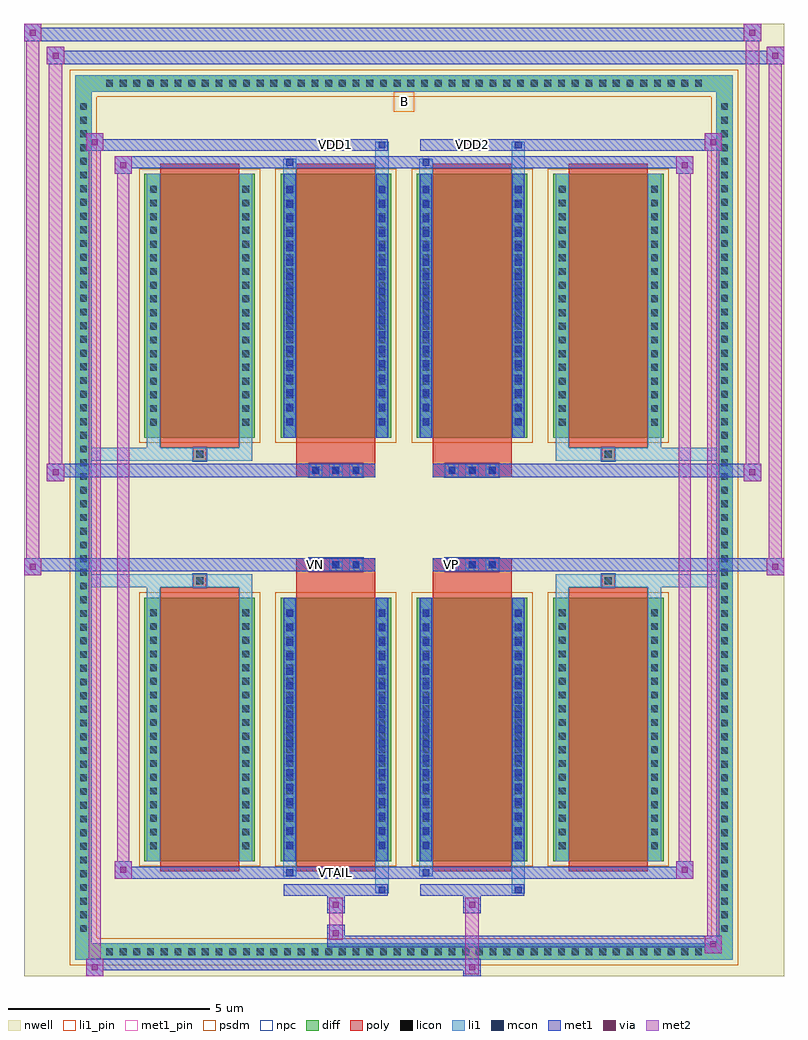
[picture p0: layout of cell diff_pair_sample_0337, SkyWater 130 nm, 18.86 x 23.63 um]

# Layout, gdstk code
import gdstk
lib = gdstk.Library(unit=1e-6, precision=5e-09)
def R(c, l, rs):  # rectangles x0, y0, x1, y1
    for r in rs: c.add(gdstk.rectangle(r[:2], r[2:], *l))
def A(c, l, x, y, w, h, nx, ny, dx, dy):  # array of equal rectangles
    R(c, l, [(x+i*dx, y+j*dy, x+i*dx+w, y+j*dy+h) for i in range(nx) for j in range(ny)])
def P(c, l, *ps):  # polygons
    for p in ps: c.add(gdstk.Polygon(p, *l))
nwell = (64, 20)
diff = (65, 20)
poly = (66, 20)
licon = (66, 44)
li1_pin = (67, 16)
li1 = (67, 20)
mcon = (67, 44)
met1_pin = (68, 16)
met1 = (68, 20)
via = (68, 44)
met2 = (69, 20)
psdm = (94, 20)
npc = (95, 20)

diff_pair_sample_0337 = lib.new_cell('diff_pair_sample_0337')
R(diff_pair_sample_0337, nwell, [(-9.43,-11.38,9.43,12.25), (-6.75,-9.57,-0.01,-0.805), (0.01,-9.57,6.75,-0.805), (-6.75,0.805,-0.01,9.57), (0.01,0.805,6.75,9.57)])
A(diff_pair_sample_0337, diff, -7.515, -10.98, 0.41, 0.41, 44, 2, 0.34, 21.55)
A(diff_pair_sample_0337, diff, -8.16, -10.405, 0.41, 0.41, 1, 61, 0, 0.34)
A(diff_pair_sample_0337, diff, 7.75, -10.405, 0.41, 0.41, 1, 61, 0, 0.34)
A(diff_pair_sample_0337, diff, -6.44, -8.525, 2.74, 6.54, 4, 2, 3.38, 10.51)
R(diff_pair_sample_0337, diff, [(-7.515,-10.98,7.515,-10.57), (-8.16,-10.405,-7.75,10.405), (7.75,-10.405,8.16,10.405), (-7.515,10.57,7.515,10.98)])
P(diff_pair_sample_0337, diff, [(8.16,10.98),(-8.16,10.98),(-8.16,-10.57),(-7.75,-10.57),(-7.75,10.57),(7.75,10.57),(7.75,-10.57),(-7.75,-10.57),(-8.16,-10.57),(-8.16,-10.98),(8.16,-10.98)])
A(diff_pair_sample_0337, poly, -6.05, -8.775, 1.96, 7.04, 4, 2, 3.38, 10.51)
A(diff_pair_sample_0337, poly, -2.355, -1.335, 0.33, 0.33, 3, 2, 0.5, 2.34)
A(diff_pair_sample_0337, poly, 1.025, -1.335, 0.33, 0.33, 3, 2, 0.5, 2.34)
R(diff_pair_sample_0337, poly, [(-5.235,-1.735,-4.905,-1.405), (-5.235,-1.735,-4.905,-1.405), (-2.67,-1.735,-0.71,-1.335), (0.71,-1.735,2.67,-1.335), (4.905,-1.735,5.235,-1.405), (4.905,-1.735,5.235,-1.405), (-2.67,-1.335,-0.71,-1.005), (0.71,-1.335,2.67,-1.005), (-2.67,1.005,-0.71,1.335), (0.71,1.005,2.67,1.335), (-2.67,1.335,-0.71,1.735), (0.71,1.335,2.67,1.735), (-5.235,1.405,-4.905,1.735), (-5.235,1.405,-4.905,1.735), (4.905,1.405,5.235,1.735), (4.905,1.405,5.235,1.735)])
A(diff_pair_sample_0337, licon, -7.395, -10.86, 0.17, 0.17, 44, 2, 0.34, 21.55)
A(diff_pair_sample_0337, licon, -8.04, -10.285, 0.17, 0.17, 1, 61, 0, 0.34)
A(diff_pair_sample_0337, licon, 7.87, -10.285, 0.17, 0.17, 1, 61, 0, 0.34)
A(diff_pair_sample_0337, licon, -6.3, -8.23, 0.17, 0.17, 1, 18, 0, 0.34)
A(diff_pair_sample_0337, licon, -4.01, -8.23, 0.17, 0.17, 1, 18, 0, 0.34)
A(diff_pair_sample_0337, licon, -2.92, -8.23, 0.17, 0.17, 1, 18, 0, 0.34)
A(diff_pair_sample_0337, licon, -0.63, -8.23, 0.17, 0.17, 1, 18, 0, 0.34)
A(diff_pair_sample_0337, licon, 0.46, -8.23, 0.17, 0.17, 1, 18, 0, 0.34)
A(diff_pair_sample_0337, licon, 2.75, -8.23, 0.17, 0.17, 1, 18, 0, 0.34)
A(diff_pair_sample_0337, licon, 3.84, -8.23, 0.17, 0.17, 1, 18, 0, 0.34)
A(diff_pair_sample_0337, licon, 6.13, -8.23, 0.17, 0.17, 1, 18, 0, 0.34)
A(diff_pair_sample_0337, licon, -2.275, -1.255, 0.17, 0.17, 3, 2, 0.5, 2.34)
A(diff_pair_sample_0337, licon, 1.105, -1.255, 0.17, 0.17, 3, 2, 0.5, 2.34)
A(diff_pair_sample_0337, licon, -6.3, 2.28, 0.17, 0.17, 1, 18, 0, 0.34)
A(diff_pair_sample_0337, licon, -4.01, 2.28, 0.17, 0.17, 1, 18, 0, 0.34)
A(diff_pair_sample_0337, licon, -2.92, 2.28, 0.17, 0.17, 1, 18, 0, 0.34)
A(diff_pair_sample_0337, licon, -0.63, 2.28, 0.17, 0.17, 1, 18, 0, 0.34)
A(diff_pair_sample_0337, licon, 0.46, 2.28, 0.17, 0.17, 1, 18, 0, 0.34)
A(diff_pair_sample_0337, licon, 2.75, 2.28, 0.17, 0.17, 1, 18, 0, 0.34)
A(diff_pair_sample_0337, licon, 3.84, 2.28, 0.17, 0.17, 1, 18, 0, 0.34)
A(diff_pair_sample_0337, licon, 6.13, 2.28, 0.17, 0.17, 1, 18, 0, 0.34)
R(diff_pair_sample_0337, licon, [(-5.155,-1.655,-4.985,-1.485), (4.985,-1.655,5.155,-1.485), (-5.155,1.485,-4.985,1.655), (4.985,1.485,5.155,1.655)])
R(diff_pair_sample_0337, li1_pin, [(-0.25,10.07,0.25,10.57)])
A(diff_pair_sample_0337, li1, -7.475, -10.94, 0.33, 0.33, 44, 2, 0.34, 21.55)
A(diff_pair_sample_0337, li1, -8.12, -10.365, 0.33, 0.33, 1, 61, 0, 0.34)
A(diff_pair_sample_0337, li1, 7.79, -10.365, 0.33, 0.33, 1, 61, 0, 0.34)
A(diff_pair_sample_0337, li1, -6.38, -8.31, 0.33, 0.33, 1, 18, 0, 0.34)
A(diff_pair_sample_0337, li1, -4.09, -8.31, 0.33, 0.33, 1, 18, 0, 0.34)
A(diff_pair_sample_0337, li1, -3, -8.31, 0.33, 0.33, 1, 18, 0, 0.34)
A(diff_pair_sample_0337, li1, -0.71, -8.31, 0.33, 0.33, 1, 18, 0, 0.34)
A(diff_pair_sample_0337, li1, 0.38, -8.31, 0.33, 0.33, 1, 18, 0, 0.34)
A(diff_pair_sample_0337, li1, 2.67, -8.31, 0.33, 0.33, 1, 18, 0, 0.34)
A(diff_pair_sample_0337, li1, 3.76, -8.31, 0.33, 0.33, 1, 18, 0, 0.34)
A(diff_pair_sample_0337, li1, 6.05, -8.31, 0.33, 0.33, 1, 18, 0, 0.34)
A(diff_pair_sample_0337, li1, -2.92, -8.22, 0.17, 0.17, 1, 17, 0, 0.36)
A(diff_pair_sample_0337, li1, -0.63, -8.22, 0.17, 0.17, 1, 17, 0, 0.36)
A(diff_pair_sample_0337, li1, 0.46, -8.22, 0.17, 0.17, 1, 17, 0, 0.36)
A(diff_pair_sample_0337, li1, 2.75, -8.22, 0.17, 0.17, 1, 17, 0, 0.36)
A(diff_pair_sample_0337, li1, -2.355, -1.335, 0.33, 0.33, 3, 2, 0.5, 2.34)
A(diff_pair_sample_0337, li1, 1.025, -1.335, 0.33, 0.33, 3, 2, 0.5, 2.34)
A(diff_pair_sample_0337, li1, -6.38, 2.2, 0.33, 0.33, 1, 18, 0, 0.34)
A(diff_pair_sample_0337, li1, -4.09, 2.2, 0.33, 0.33, 1, 18, 0, 0.34)
A(diff_pair_sample_0337, li1, -3, 2.2, 0.33, 0.33, 1, 18, 0, 0.34)
A(diff_pair_sample_0337, li1, -0.71, 2.2, 0.33, 0.33, 1, 18, 0, 0.34)
A(diff_pair_sample_0337, li1, 0.38, 2.2, 0.33, 0.33, 1, 18, 0, 0.34)
A(diff_pair_sample_0337, li1, 2.67, 2.2, 0.33, 0.33, 1, 18, 0, 0.34)
A(diff_pair_sample_0337, li1, 3.76, 2.2, 0.33, 0.33, 1, 18, 0, 0.34)
A(diff_pair_sample_0337, li1, 6.05, 2.2, 0.33, 0.33, 1, 18, 0, 0.34)
A(diff_pair_sample_0337, li1, -2.92, 2.29, 0.17, 0.17, 1, 17, 0, 0.36)
A(diff_pair_sample_0337, li1, -0.63, 2.29, 0.17, 0.17, 1, 17, 0, 0.36)
A(diff_pair_sample_0337, li1, 0.46, 2.29, 0.17, 0.17, 1, 17, 0, 0.36)
A(diff_pair_sample_0337, li1, 2.75, 2.29, 0.17, 0.17, 1, 17, 0, 0.36)
R(diff_pair_sample_0337, li1, [(-8.16,-10.98,-7.75,-10.57), (-8.16,-10.98,-7.75,-10.57), (-7.75,-10.98,7.75,-10.57), (7.75,-10.98,8.16,-10.57), (7.75,-10.98,8.16,-10.57), (-8.16,-10.57,-7.75,10.57), (7.75,-10.57,8.16,10.57), (-0.71,-9.33,-0.38,-8.525), (-0.63,-9.33,-0.46,-9.16), (2.67,-9.33,3,-8.525), (2.75,-9.33,2.92,-9.16), (-3,-8.9,-2.67,-8.525), (-2.92,-8.9,-2.75,-8.73), (0.38,-8.9,0.71,-8.525), (0.46,-8.9,0.63,-8.73), (-6.38,-8.525,-6.05,-1.985), (-4.09,-8.525,-3.76,-1.985), (-3,-8.525,-2.67,-1.985), (-0.71,-8.525,-0.38,-1.985), (0.38,-8.525,0.71,-1.985), (2.67,-8.525,3,-1.985), (3.76,-8.525,4.09,-1.985), (6.05,-8.525,6.38,-1.985), (-2.92,-8.22,-2.75,-2.29), (-0.63,-8.22,-0.46,-2.29), (0.46,-8.22,0.63,-2.29), (2.75,-8.22,2.92,-2.29), (-6.38,-1.985,-6.05,-1.405), (-4.09,-1.985,-3.76,-1.405), (3.76,-1.985,4.09,-1.405), (6.05,-1.985,6.38,-1.405), (-8.16,-1.735,-5.235,-1.405), (-6.38,-1.735,-5.235,-1.405), (-5.235,-1.735,-4.905,-1.405), (-4.905,-1.735,-3.76,-1.405), (3.76,-1.735,4.905,-1.405), (4.905,-1.735,5.235,-1.405), (4.905,-1.735,8.16,-1.405), (5.235,-1.735,6.38,-1.405), (-8.16,1.405,-5.235,1.735), (-6.38,1.405,-5.235,1.735), (-6.38,1.405,-6.05,1.985), (-5.235,1.405,-4.905,1.735), (-4.905,1.405,-3.76,1.735), (-4.09,1.405,-3.76,1.985), (3.76,1.405,4.905,1.735), (3.76,1.405,4.09,1.985), (4.905,1.405,5.235,1.735), (4.905,1.405,8.16,1.735), (5.235,1.405,6.38,1.735), (6.05,1.405,6.38,1.985), (-6.38,1.985,-6.05,8.525), (-4.09,1.985,-3.76,8.525), (-3,1.985,-2.67,8.525), (-0.71,1.985,-0.38,8.525), (0.38,1.985,0.71,8.525), (2.67,1.985,3,8.525), (3.76,1.985,4.09,8.525), (6.05,1.985,6.38,8.525), (-2.92,2.29,-2.75,8.22), (-0.63,2.29,-0.46,8.22), (0.46,2.29,0.63,8.22), (2.75,2.29,2.92,8.22), (-3,8.525,-2.67,8.9), (-0.71,8.525,-0.38,9.33), (0.38,8.525,0.71,8.9), (2.67,8.525,3,9.33), (-2.92,8.73,-2.75,8.9), (0.46,8.73,0.63,8.9), (-0.63,9.16,-0.46,9.33), (2.75,9.16,2.92,9.33), (-8.16,10.57,-7.75,10.98), (-8.16,10.57,-7.75,10.98), (-7.75,10.57,7.75,10.98), (7.75,10.57,8.16,10.98), (7.75,10.57,8.16,10.98)])
A(diff_pair_sample_0337, mcon, -2.92, -8.22, 0.17, 0.17, 1, 17, 0, 0.36)
A(diff_pair_sample_0337, mcon, -0.63, -8.22, 0.17, 0.17, 1, 17, 0, 0.36)
A(diff_pair_sample_0337, mcon, 0.46, -8.22, 0.17, 0.17, 1, 17, 0, 0.36)
A(diff_pair_sample_0337, mcon, 2.75, -8.22, 0.17, 0.17, 1, 17, 0, 0.36)
A(diff_pair_sample_0337, mcon, -2.275, -1.255, 0.17, 0.17, 3, 2, 0.5, 2.34)
A(diff_pair_sample_0337, mcon, 1.105, -1.255, 0.17, 0.17, 3, 2, 0.5, 2.34)
A(diff_pair_sample_0337, mcon, -2.92, 2.29, 0.17, 0.17, 1, 17, 0, 0.36)
A(diff_pair_sample_0337, mcon, -0.63, 2.29, 0.17, 0.17, 1, 17, 0, 0.36)
A(diff_pair_sample_0337, mcon, 0.46, 2.29, 0.17, 0.17, 1, 17, 0, 0.36)
A(diff_pair_sample_0337, mcon, 2.75, 2.29, 0.17, 0.17, 1, 17, 0, 0.36)
R(diff_pair_sample_0337, mcon, [(-0.63,-9.33,-0.46,-9.16), (2.75,-9.33,2.92,-9.16), (-2.92,-8.9,-2.75,-8.73), (0.46,-8.9,0.63,-8.73), (-2.92,8.73,-2.75,8.9), (0.46,8.73,0.63,8.9), (-0.63,9.16,-0.46,9.33), (2.75,9.16,2.92,9.33)])
R(diff_pair_sample_0337, met1_pin, [(-1.825,-8.94,-1.555,-8.67), (-2.325,-1.295,-2.055,-1.025), (1.055,-1.295,1.325,-1.025), (-1.825,9.12,-1.555,9.39), (1.555,9.12,1.825,9.39)])
A(diff_pair_sample_0337, met1, -2.98, -8.28, 0.29, 0.29, 1, 17, 0, 0.36)
A(diff_pair_sample_0337, met1, -0.69, -8.28, 0.29, 0.29, 1, 17, 0, 0.36)
A(diff_pair_sample_0337, met1, 0.4, -8.28, 0.29, 0.29, 1, 17, 0, 0.36)
A(diff_pair_sample_0337, met1, 2.69, -8.28, 0.29, 0.29, 1, 17, 0, 0.36)
A(diff_pair_sample_0337, met1, -2.335, -1.315, 0.29, 0.29, 3, 2, 0.5, 2.34)
A(diff_pair_sample_0337, met1, 1.045, -1.315, 0.29, 0.29, 3, 2, 0.5, 2.34)
A(diff_pair_sample_0337, met1, -2.98, 2.23, 0.29, 0.29, 1, 17, 0, 0.36)
A(diff_pair_sample_0337, met1, -0.69, 2.23, 0.29, 0.29, 1, 17, 0, 0.36)
A(diff_pair_sample_0337, met1, 0.4, 2.23, 0.29, 0.29, 1, 17, 0, 0.36)
A(diff_pair_sample_0337, met1, 2.69, 2.23, 0.29, 0.29, 1, 17, 0, 0.36)
R(diff_pair_sample_0337, met1, [(-7.89,-11.38,-7.46,-10.95), (1.475,-11.38,1.905,-10.95), (-7.89,-11.24,1.905,-10.95), (7.46,-10.81,7.89,-10.38), (-1.905,-10.67,7.89,-10.38), (-1.905,-10.53,-1.475,-10.1), (-1.905,-9.82,-1.475,-9.39), (1.475,-9.82,1.905,-9.39), (-2.98,-9.39,-0.4,-9.1), (-0.69,-9.39,-0.4,-9.1), (0.4,-9.39,2.98,-9.1), (2.69,-9.39,2.98,-9.1), (-7.18,-8.96,-6.75,-8.53), (-7.18,-8.96,-2.98,-8.67), (-2.98,-8.96,-2.69,-8.67), (-2.98,-8.96,-0.4,-8.67), (-0.4,-8.96,0.4,-8.67), (0.4,-8.96,0.69,-8.67), (0.4,-8.96,2.98,-8.67), (2.98,-8.96,7.18,-8.67), (6.75,-8.96,7.18,-8.53), (-2.98,-8.525,-2.69,-1.985), (-0.69,-8.525,-0.4,-1.985), (0.4,-8.525,0.69,-1.985), (2.69,-8.525,2.98,-1.985), (-9.43,-1.435,-9,-1.005), (9,-1.435,9.43,-1.005), (-9.43,-1.335,-0.71,-1.005), (-2.67,-1.335,-0.71,-1.005), (0.71,-1.335,2.67,-1.005), (0.71,-1.335,9.43,-1.005), (-8.86,0.905,-8.43,1.335), (8.43,0.905,8.86,1.335), (-8.86,1.005,-2.67,1.335), (-2.67,1.005,-0.71,1.335), (0.71,1.005,2.67,1.335), (2.67,1.005,8.86,1.335), (-2.98,1.985,-2.69,8.525), (-0.69,1.985,-0.4,8.525), (0.4,1.985,0.69,8.525), (2.69,1.985,2.98,8.525), (-7.18,8.53,-6.75,8.96), (6.75,8.53,7.18,8.96), (-7.18,8.67,-2.98,8.96), (-2.98,8.67,-2.69,8.96), (-2.98,8.67,-0.4,8.96), (-0.4,8.67,0.4,8.96), (0.4,8.67,0.69,8.96), (0.4,8.67,2.98,8.96), (2.98,8.67,7.18,8.96), (-7.89,9.1,-7.46,9.53), (-7.89,9.1,-2.98,9.39), (-2.98,9.1,-0.4,9.39), (-0.69,9.1,-0.4,9.39), (0.4,9.1,2.98,9.39), (2.69,9.1,2.98,9.39), (2.98,9.1,7.89,9.39), (7.46,9.1,7.89,9.53), (-8.86,11.25,-8.43,11.68), (-8.86,11.25,-6.75,11.58), (-6.75,11.25,6.75,11.58), (6.75,11.25,9.43,11.58), (9,11.25,9.43,11.68), (-9.43,11.82,-9,12.25), (-9.43,11.82,-6.75,12.15), (-6.75,11.82,6.75,12.15), (6.75,11.82,8.86,12.15), (8.43,11.82,8.86,12.25)])
R(diff_pair_sample_0337, via, [(-7.75,-11.24,-7.6,-11.09), (1.615,-11.24,1.765,-11.09), (7.6,-10.67,7.75,-10.52), (-1.765,-10.39,-1.615,-10.24), (-1.765,-9.68,-1.615,-9.53), (1.615,-9.68,1.765,-9.53), (-7.04,-8.82,-6.89,-8.67), (6.89,-8.82,7.04,-8.67), (-9.29,-1.295,-9.14,-1.145), (9.14,-1.295,9.29,-1.145), (-8.72,1.045,-8.57,1.195), (8.57,1.045,8.72,1.195), (-7.04,8.67,-6.89,8.82), (6.89,8.67,7.04,8.82), (-7.75,9.24,-7.6,9.39), (7.6,9.24,7.75,9.39), (-8.72,11.39,-8.57,11.54), (9.14,11.39,9.29,11.54), (-9.29,11.96,-9.14,12.11), (8.57,11.96,8.72,12.11)])
R(diff_pair_sample_0337, met2, [(-7.89,-11.38,-7.46,-10.95), (-7.82,-11.38,-7.53,9.53), (-7.53,-11.38,-7.46,-10.95), (-7.84,-11.33,-7.51,-11), (1.525,-11.33,1.855,-11), (1.525,-11,1.855,-9.77), (7.46,-10.81,7.89,-10.38), (7.53,-10.81,7.82,9.53), (7.82,-10.81,7.89,-10.38), (7.51,-10.76,7.84,-10.43), (-1.855,-10.48,-1.525,-10.15), (-1.855,-10.15,-1.525,-9.77), (-1.855,-9.77,-1.525,-9.44), (1.525,-9.77,1.855,-9.44), (-7.18,-8.96,-6.75,-8.53), (-7.11,-8.96,-6.82,8.96), (-6.82,-8.96,-6.75,-8.53), (6.75,-8.96,7.18,-8.53), (6.82,-8.96,7.11,8.96), (7.11,-8.96,7.18,-8.53), (-7.13,-8.91,-6.8,-8.58), (6.8,-8.91,7.13,-8.58), (-9.43,-1.435,-9,-1.005), (-9.38,-1.435,-9.05,12.25), (-9.05,-1.435,-9,-1.005), (9,-1.435,9.43,-1.005), (9.05,-1.435,9.38,11.68), (9.38,-1.435,9.43,-1.005), (-9.38,-1.385,-9.05,-1.055), (9.05,-1.385,9.38,-1.055), (-8.86,0.905,-8.43,1.335), (-8.81,0.905,-8.48,11.68), (-8.48,0.905,-8.43,1.335), (8.43,0.905,8.86,1.335), (8.48,0.905,8.81,12.25), (8.81,0.905,8.86,1.335), (-8.81,0.955,-8.48,1.285), (8.48,0.955,8.81,1.285), (-7.18,8.53,-6.75,8.96), (-6.82,8.53,-6.75,8.96), (6.75,8.53,7.18,8.96), (7.11,8.53,7.18,8.96), (-7.13,8.58,-6.8,8.91), (6.8,8.58,7.13,8.91), (-7.89,9.1,-7.46,9.53), (-7.53,9.1,-7.46,9.53), (7.46,9.1,7.89,9.53), (7.82,9.1,7.89,9.53), (-7.84,9.15,-7.51,9.48), (7.51,9.15,7.84,9.48), (-8.86,11.25,-8.43,11.68), (-8.48,11.25,-8.43,11.68), (9,11.25,9.43,11.68), (9.38,11.25,9.43,11.68), (-8.81,11.3,-8.48,11.63), (9.05,11.3,9.38,11.63), (-9.43,11.82,-9,12.25), (-9.05,11.82,-9,12.25), (8.43,11.82,8.86,12.25), (8.81,11.82,8.86,12.25), (-9.38,11.87,-9.05,12.2), (8.48,11.87,8.81,12.2)])
A(diff_pair_sample_0337, psdm, -6.57, -8.655, 3, 6.8, 4, 2, 3.38, 10.51)
P(diff_pair_sample_0337, psdm, [(8.29,11.11),(-8.29,11.11),(-8.29,-10.44),(-7.62,-10.44),(-7.62,10.44),(7.62,10.44),(7.62,-10.44),(-7.62,-10.44),(-8.29,-10.44),(-8.29,-11.11),(8.29,-11.11)])
A(diff_pair_sample_0337, npc, -2.375, -1.355, 0.37, 0.37, 3, 2, 0.5, 2.34)
A(diff_pair_sample_0337, npc, 1.005, -1.355, 0.37, 0.37, 3, 2, 0.5, 2.34)
R(diff_pair_sample_0337, npc, [(-5.255,-1.755,-4.885,-1.385), (4.885,-1.755,5.255,-1.385), (-2.375,-1.355,-1.505,-0.985), (-2.375,-1.355,-1.505,-0.985), (-1.875,-1.355,-1.005,-0.985), (-1.875,-1.355,-1.005,-0.985), (1.005,-1.355,1.875,-0.985), (1.005,-1.355,1.875,-0.985), (1.505,-1.355,2.375,-0.985), (1.505,-1.355,2.375,-0.985), (-2.375,0.985,-1.505,1.355), (-2.375,0.985,-1.505,1.355), (-1.875,0.985,-1.005,1.355), (-1.875,0.985,-1.005,1.355), (1.005,0.985,1.875,1.355), (1.005,0.985,1.875,1.355), (1.505,0.985,2.375,1.355), (1.505,0.985,2.375,1.355), (-5.255,1.385,-4.885,1.755), (4.885,1.385,5.255,1.755)])
diff_pair_sample_0337.add(gdstk.Label('VTAIL', (-1.69,-8.805), layer=68, texttype=5))
diff_pair_sample_0337.add(gdstk.Label('VN', (-2.19,-1.16), layer=68, texttype=5))
diff_pair_sample_0337.add(gdstk.Label('VP', (1.19,-1.16), layer=68, texttype=5))
diff_pair_sample_0337.add(gdstk.Label('B', (0,10.32), layer=67, texttype=5))
diff_pair_sample_0337.add(gdstk.Label('VDD2', (1.69,9.255), layer=68, texttype=5))
diff_pair_sample_0337.add(gdstk.Label('VDD1', (-1.69,9.255), layer=68, texttype=5))

lib.write_gds('diff_pair_sample_0337.gds')
